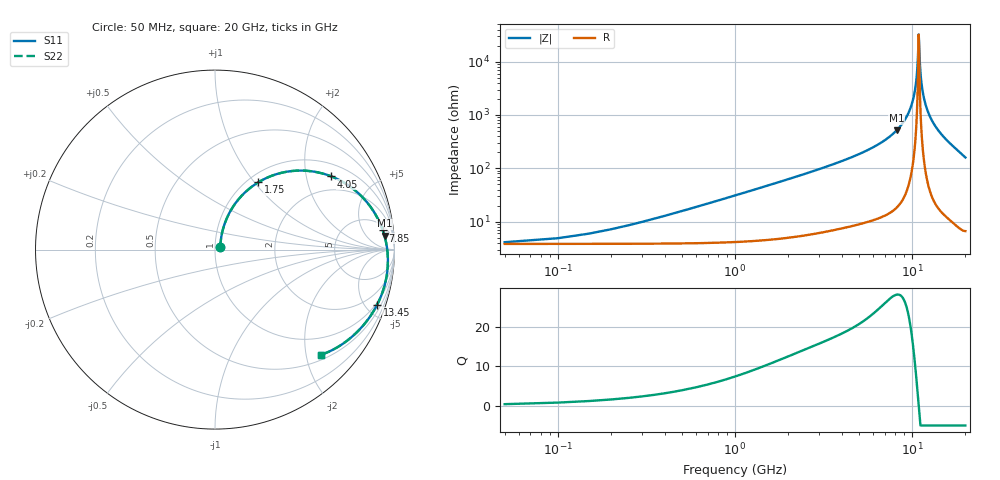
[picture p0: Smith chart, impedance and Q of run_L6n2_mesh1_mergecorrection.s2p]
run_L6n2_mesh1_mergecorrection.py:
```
########################################################################
#
# Copyright 2025 Volker Muehlhaus and IHP PDK Authors
#
# Licensed under the GNU General Public License, Version 3.0 (the "License");
# you may not use this file except in compliance with the License.
# You may obtain a copy of the License at
#
#    https://www.gnu.org/licenses/gpl-3.0
#
# Unless required by applicable law or agreed to in writing, software
# distributed under the License is distributed on an "AS IS" BASIS,
# WITHOUT WARRANTIES OR CONDITIONS OF ANY KIND, either express or implied.
# See the License for the specific language governing permissions and
# limitations under the License.
#
########################################################################

import os

from gds2openEMS import *

from openEMS import openEMS
import numpy as np


# Model comments
#
# This is a generic model running port excitation for all ports defined below,
# to get full [S] matrix data.
# Output is stored to Touchstone S-parameter file.
# No data plots are created by this script.
#
# This model uses the settings{} dictionary syntax and the gds2openEMS PyPI package
# (pip install gds2openEMS) instead of a local copy of the modules folder - see the
# README for the loose-variable / local-modules-copy alternative, still fully supported.


# ======================== workflow settings ================================

settings = {}

settings['preview_only'] = False  # preview model/mesh only?
settings['no_gui'] = False # if set to True, there is no mesh/model preview in AppCSXCAD, and simulation starts immediately.

settings['numthreads'] = 0 # run on xx cores, changes to 0 for automatic detection by openEMS


# ===================== input files and path settings =======================

gds_filename = "L6n2_with_ports.gds"   # geometries
XML_filename = "openEMS_SG13G2_200um.xml"          # stackup

# merge via polygons with distance less than .. microns, set to 0 to disable via merging.
settings['merge_polygon_size'] = 2
settings['fill_factor_correction'] = True

settings['preprocess_gds'] = False # preprocessing is no longer required

# get path for this simulation file
script_path = utilities.get_script_path(__file__)
# use script filename as model basename
model_basename = utilities.get_basename(__file__)
# set and create directory for simulation output
sim_path = utilities.create_sim_path (script_path,model_basename)
print('Simulation data directory: ', sim_path)
# change current path to model script path
os.chdir(os.path.dirname(os.path.abspath(__file__)))

# ======================== simulation settings ================================

settings['unit']   = 1e-6  # geometry is in microns
settings['margin'] = 250    # distance in microns from GDSII geometry boundary to simulation boundary

settings['fstart']  = 0e9
settings['fstop']   = 20e9
settings['numfreq'] = 401

settings['refined_cellsize'] = 1 # mesh cell size in conductor region

# choices for boundary:
# 'PEC' : perfect electric conductor (default)
# 'PMC' : perfect magnetic conductor, useful for symmetries
# 'MUR' : simple MUR absorbing boundary conditions
# 'PML_8' : PML absorbing boundary conditions
settings['Boundaries'] = ['PEC', 'PEC', 'PEC', 'PEC', 'PEC', 'PEC']

settings['cells_per_wavelength'] = 20   # how many mesh cells per wavelength, must be 10 or more
settings['energy_limit'] = -40          # end criteria for residual energy (dB)

# port configuration, port geometry is read from GDSII file on the specified layer
simulation_ports = simulation_setup.all_simulation_ports()

# in-plane port is specified with target_layername= and direction x or y
# via port is specified with from_layername= and to_layername= and direction z
simulation_ports.add_port(simulation_setup.simulation_port(portnumber=1, 
                                                           voltage=1, 
                                                           port_Z0=50, 
                                                           source_layernum=201, 
                                                           from_layername='SUBGND', 
                                                           to_layername='TopMetal1', 
                                                           direction='z'))

simulation_ports.add_port(simulation_setup.simulation_port(portnumber=2, 
                                                           voltage=1, 
                                                           port_Z0=50, 
                                                           source_layernum=202, 
                                                           from_layername='SUBGND', 
                                                           to_layername='TopMetal1', 
                                                           direction='z'))

# ======================== simulation ================================

# get technology stackup data
materials_list, dielectrics_list, metals_list = stackup_reader.read_substrate (XML_filename)
# get list of layers from technology
layernumbers = metals_list.getlayernumbers()
# we must also read the layers where we added ports, these are not included in technology layers
layernumbers.extend(simulation_ports.portlayers)

# read geometries from GDSII, only purpose 0
allpolygons = gds_reader.read_gds(gds_filename,
                                  layernumbers,
                                  purposelist=[0],
                                  metals_list=metals_list,
                                  preprocess=settings['preprocess_gds'],
                                  merge_polygon_size=settings['merge_polygon_size'])

# maximum cellsize is calculated inside setupSimulation when using settings dictionary

# define excitation and stop criteria and boundaries
FDTD = openEMS(EndCriteria=np.exp(settings['energy_limit']/10 * np.log(10)))
FDTD.SetGaussExcite( (settings['fstart']+settings['fstop'])/2, (settings['fstop']-settings['fstart'])/2 )
FDTD.SetBoundaryCond( settings['Boundaries'] )

settings['simulation_ports'] = simulation_ports
settings['materials_list'] = materials_list
settings['dielectrics_list'] = dielectrics_list
settings['metals_list'] = metals_list
settings['layernumbers'] = layernumbers
settings['allpolygons'] = allpolygons
settings['sim_path'] = sim_path
settings['model_basename'] = model_basename


########### create model, run and post-process ###########

# run all active port excitations, one after another. Ports with voltage=0 are skipped here -
# their S-parameters are left out of the result, see the FAQ in the user's guide.

for excite_portnumbers in simulation_ports.all_active_excitations():
    settings['excite_portnumbers'] = excite_portnumbers

    simulation_setup.setupSimulation (FDTD=FDTD, settings=settings)  # must use named parameters when using settings dict!
    simulation_setup.runSimulation   (FDTD=FDTD, settings=settings)  # must use named parameters when using settings dict!


# Initialize an empty matrix for S-parameters
num_ports = simulation_ports.portcount
s_params = np.empty((num_ports, num_ports, settings['numfreq']), dtype=object)

# Define frequency resolution. Due to FFT from Empire time domain results,
# this is postprocessing and we can change it again at any time.
f = np.linspace(settings['fstart'],settings['fstop'],settings['numfreq'])

# Populate the S-parameter matrix with simulation results
for i in range(1, num_ports + 1):
    for j in range(1, num_ports + 1):
        s_params[i-1, j-1] = utilities.calculate_Sij(i, j, f, sim_path, simulation_ports)

# Write to Touchstone *.snp file
snp_name = os.path.join(sim_path, model_basename + '.s' + str(num_ports) + 'p')
utilities.write_snp(s_params, f, snp_name, z0=simulation_ports.get_reference_impedance())

print('Created S-parameter output file at ', snp_name)
```
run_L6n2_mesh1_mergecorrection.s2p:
#  Hz  S  RI  R  50
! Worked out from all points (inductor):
!   400 points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, 50 MHz to 20 GHz, reference 50 ohm
!   read as one part in series: L = 4.85 nH near 400 MHz
!   highest Q = 28.2 at 8.2 GHz (marker M1), where L = 10.1 nH
!   self-resonance near 10.9 GHz
!   S11 on the Smith chart (normalised r, x): 50 MHz: 1.06, +0.03; 1.75 GHz: 1.12, +1.05; 4.05 GHz: 1.43, +2.82; 7.85 GHz: 7, +14; 13.45 GHz: 0.86, -5.89; 20 GHz: 0.60, -2.29
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5e7  0.0295 0.0137  0.9555 -0.0146  0.9555 -0.0146  0.0295 0.0137
1.75e9  0.2412 0.3749  0.7387 -0.4042  0.7387 -0.4042  0.2412 0.3748
4.05e9  0.6489 0.4077  0.3227 -0.4646  0.3227 -0.4646  0.6488 0.4074
7.85e9  0.9351 0.107  0.0311 -0.208  0.0311 -0.208  0.9349 0.1066
8.2e9  0.9444 0.0772  0.0212 -0.1825  0.0212 -0.1825  0.9442 0.0767
1.005e10  0.9632 -0.074  -0.000813 -0.0545  -0.000813 -0.0545  0.963 -0.0745
1.06e10  0.9605 -0.1161  0.000725 -0.0193  0.000725 -0.0193  0.9602 -0.1166
1.09e10  0.9577 -0.1384  0.00288 -0.000754  0.00288 -0.000755  0.9574 -0.139
1.155e10  0.9487 -0.1852  0.0104 0.0379  0.0104 0.0379  0.9483 -0.1858
1.345e10  0.9026 -0.3088  0.0517 0.1375  0.0517 0.1375  0.9022 -0.3094
2e10  0.5906 -0.5856  0.3411 0.3273  0.3411 0.3273  0.5897 -0.5861
